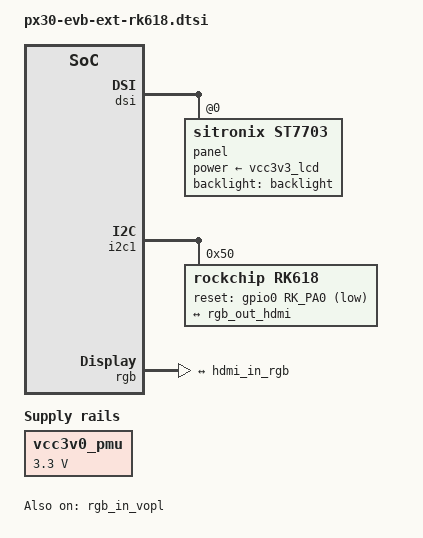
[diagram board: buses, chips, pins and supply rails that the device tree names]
// SPDX-License-Identifier: (GPL-2.0+ OR MIT)
/*
 * Copyright (c) 2018 Fuzhou Rockchip Electronics Co., Ltd
 */

/dts-v1/;
#include <dt-bindings/clock/rk618-cru.h>
#include <dt-bindings/display/media-bus-format.h>
#include "px30-evb-ddr3-v10.dtsi"
#include "px30-android.dtsi"

&dsi {
	status = "okay";

	panel@0 {
		compatible = "sitronix,st7703", "simple-panel-dsi";
		reg = <0>;
		power-supply = <&vcc3v3_lcd>;
		backlight = <&backlight>;
		prepare-delay-ms = <2>;
		reset-delay-ms = <1>;
		init-delay-ms = <20>;
		enable-delay-ms = <120>;
		disable-delay-ms = <50>;
		unprepare-delay-ms = <20>;

		width-mm = <68>;
		height-mm = <121>;

		dsi,flags = <(MIPI_DSI_MODE_VIDEO | MIPI_DSI_MODE_VIDEO_BURST |
			      MIPI_DSI_MODE_LPM | MIPI_DSI_MODE_EOT_PACKET)>;
		dsi,format = <MIPI_DSI_FMT_RGB888>;
		dsi,lanes = <4>;

		panel-init-sequence = [
			05 fa 01 11
			39 00 04 b9 f1 12 83
			39 00 1c ba 33 81 05 f9 0e 0e 00 00 00
				 00 00 00 00 00 44 25 00 91 0a
				 00 00 02 4f 01 00 00 37
			15 00 02 b8 25
			39 00 04 bf 02 11 00
			39 00 0b b3 0c 10 0a 50 03 ff 00 00 00
				 00
			39 00 0a c0 73 73 50 50 00 00 08 70 00
			15 00 02 bc 46
			15 00 02 cc 0b
			15 00 02 b4 80
			39 00 04 b2 c8 12 30
			39 00 0f e3 07 07 0b 0b 03 0b 00 00 00
				 00 ff 00 c0 10
			39 00 0d c1 53 00 1e 1e 77 e1 cc dd 67
				 77 33 33
			39 00 07 c6 00 00 ff ff 01 ff
			39 00 03 b5 09 09
			39 00 03 b6 87 95
			39 00 40 e9 c2 10 05 05 10 05 a0 12 31
				 23 3f 81 0a a0 37 18 00 80 01
				 00 00 00 00 80 01 00 00 00 48
				 f8 86 42 08 88 88 80 88 88 88
				 58 f8 87 53 18 88 88 81 88 88
				 88 00 00 00 01 00 00 00 00 00
				 00 00 00 00
			39 00 3e ea 00 1a 00 00 00 00 02 00 00
				 00 00 00 1f 88 81 35 78 88 88
				 85 88 88 88 0f 88 80 24 68 88
				 88 84 88 88 88 23 10 00 00 1c
				 00 00 00 00 00 00 00 00 00 00
				 00 00 00 00 00 30 05 a0 00 00
				 00 00
			39 00 23 e0 00 06 08 2a 31 3f 38 36 07
				 0c 0d 11 13 12 13 11 18 00 06
				 08 2a 31 3f 38 36 07 0c 0d 11
				 13 12 13 11 18
			05 32 01 29
		];

		panel-exit-sequence = [
			05 00 01 28
			05 00 01 10
		];

		display-timings {
			native-mode = <&timing0>;

			timing0: timing0 {
				clock-frequency = <64000000>;
				hactive = <720>;
				vactive = <1280>;
				hfront-porch = <40>;
				hsync-len = <10>;
				hback-porch = <40>;
				vfront-porch = <22>;
				vsync-len = <4>;
				vback-porch = <11>;
				hsync-active = <0>;
				vsync-active = <0>;
				de-active = <0>;
				pixelclk-active = <0>;
			};
		};
	};
};

&dmc {
	auto-freq-en = <0>;
};

&vcc3v0_pmu {
	regulator-min-microvolt = <3300000>;
	regulator-max-microvolt = <3300000>;

	regulator-state-mem {
		regulator-suspend-microvolt = <3300000>;
	};
};

&i2c1 {

	rk618@50 {
		compatible = "rockchip,rk618";
		reg = <0x50>;
		pinctrl-names = "default";
		pinctrl-0 = <&i2s1_2ch_mclk>;
		clocks = <&cru SCLK_I2S1_OUT>;
		clock-names = "clkin";
		assigned-clocks = <&cru SCLK_I2S1_OUT>;
		assigned-clock-rates = <11289600>;
		reset-gpios = <&gpio0 RK_PA0 GPIO_ACTIVE_LOW>;
		status = "okay";

		clock: cru {
			compatible = "rockchip,rk618-cru";
			clocks = <&cru SCLK_I2S1_OUT>, <&cru DCLK_VOPL>;
			clock-names = "clkin", "lcdc0_dclkp";
			assigned-clocks = <&clock SCALER_PLLIN_CLK>,
					  <&clock VIF_PLLIN_CLK>,
					  <&clock SCALER_CLK>,
					  <&clock VIF0_PRE_CLK>,
					  <&clock CODEC_CLK>,
					  <&clock DITHER_CLK>;
			assigned-clock-parents = <&cru SCLK_I2S1_OUT>,
						 <&clock LCDC0_CLK>,
						 <&clock SCALER_PLL_CLK>,
						 <&clock VIF_PLL_CLK>,
						 <&cru SCLK_I2S1_OUT>,
						 <&clock VIF0_CLK>;
			#clock-cells = <1>;
			status = "okay";
		};

		hdmi {
			compatible = "rockchip,rk618-hdmi";
			clocks = <&clock HDMI_CLK>;
			clock-names = "hdmi";
			assigned-clocks = <&clock HDMI_CLK>;
			assigned-clock-parents = <&clock VIF0_CLK>;
			interrupt-parent = <&gpio2>;
			interrupts = <12 IRQ_TYPE_LEVEL_HIGH>;
			status = "okay";

			ports {
				#address-cells = <1>;
				#size-cells = <0>;

				port@0 {
					reg = <0>;

					hdmi_in_rgb: endpoint {
						remote-endpoint = <&rgb_out_hdmi>;
					};
				};
			};
		};
	};
};

&rgb {
	status = "okay";

	ports {
		port@1 {
			reg = <1>;

			rgb_out_hdmi: endpoint {
				remote-endpoint = <&hdmi_in_rgb>;
			};
		};
	};
};

&rgb_in_vopb {
	status = "disabled";
};

&rgb_in_vopl {
	status = "okay";
};

&route_rgb {
	connect = <&vopl_out_rgb>;
	status = "disabled";
};
